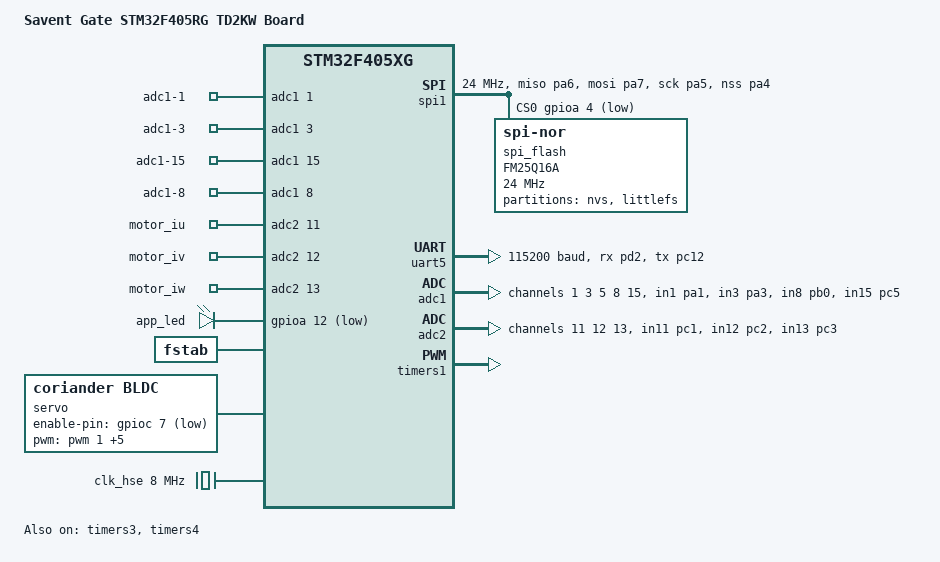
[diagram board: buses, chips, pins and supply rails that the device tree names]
/*
 * Copyright (c) 2023 Savent Gate
 *
 * SPDX-License-Identifier: All rights reserved
 */
/dts-v1/;
#include <st/f4/stm32f405Xg.dtsi>
#include <st/f4/stm32f405rgtx-pinctrl.dtsi>

/ {

    model = "Savent Gate STM32F405RG TD2KW Board";
    compatible = "st,stm32f405Xg";

	zephyr,user {
		io-channels =  <&adc1 1>, <&adc1 3>, <&adc1 15>, <&adc1 8>,
		/* For phase current */ <&adc2 11>, <&adc2 12>, <&adc2 13>;
		io-channel-names = "adc1-1", "adc1-3", "adc1-15", "adc1-8",
		    "motor_iu", "motor_iv", "motor_iw";
	};
	
    chosen {
		zephyr,sram = &sram0;
		zephyr,flash = &flash0;
		zephyr,code-partition = &slot0_partition;
		usr,led = &leds;
		usr,dbg = &uart5;
		usr,encoder = &qdec;
    };


	leds: leds{
		compatible = "gpio-leds";
		app_led: app_led {
			gpios = <&gpioa 12 GPIO_ACTIVE_LOW>;
			status = "okay";
		};
	};

	fstab {
		compatible = "zephyr,fstab";
		lfs: lfs {
			compatible = "zephyr,fstab,littlefs";
			read-size = <16>;
			prog-size = <16>;
			cache-size = <1024>;
			lookahead-size = <32>;
			block-cycles = <512>;
			partition = <&fs_partition>;
			// no-format = true;
			mount-point = "/fs";
			automount;
		};
	};

	servo: servo {
		compatible = "coriander,bldc";
		pwms = <&pwm 1 PWM_USEC(500) PWM_POLARITY_NORMAL>,
			<&pwm 2 PWM_USEC(500) PWM_POLARITY_NORMAL>,
			<&pwm 3 PWM_USEC(500) PWM_POLARITY_NORMAL>,
			<&pwm 1 PWM_USEC(500) (PWM_POLARITY_NORMAL | STM32_PWM_COMPLEMENTARY)>,
			<&pwm 2 PWM_USEC(500) (PWM_POLARITY_NORMAL | STM32_PWM_COMPLEMENTARY)>,
			<&pwm 3 PWM_USEC(500) (PWM_POLARITY_NORMAL | STM32_PWM_COMPLEMENTARY)>;
		pwm-names = "motor-u", "motor-v", "motor-w", "motor-un", "motor-vn", "motor-wn";
		enable-pin = <&gpioc 7 GPIO_ACTIVE_LOW>;
		max_pulse = <PWM_USEC(490)>;
		min_pulse = <PWM_USEC(10)>;
	};
};

// spi flash
&spi1 {
	status = "okay";
	pinctrl-names = "default";
	pinctrl-0 = <&spi1_miso_pa6 &spi1_mosi_pa7 &spi1_sck_pa5 &spi1_nss_pa4>;
	cs-gpios = <&gpioa 4 GPIO_ACTIVE_LOW>;
	clock-frequency = <24000000>;
	spi_flash: FM25Q16A@0 {
		compatible = "jedec,spi-nor";
		reg = <0>;

		// 16Mbits = 2MBytes
		size = <0x1000000>;
		spi-max-frequency = <24000000>;
		jedec-id = [a1 40 15];
		status = "okay";

		partitions {
			compatible = "fixed-partitions";
			#address-cells = <1>;
			#size-cells = <1>;

			nvs_partition: partition@0 {
				label = "nvs";
				reg = <0x00000000 DT_SIZE_K(16)>;
			};

			fs_partition: partition@100000 {
				label = "littlefs";
				reg = <0x100000 DT_SIZE_M(1)>;
			};
		};
	};
};

// debug console
&uart5 {
	status = "okay";
	pinctrl-names = "default";
	pinctrl-0 = <&uart5_rx_pd2 &uart5_tx_pc12>;
	current-speed = <115200>;
};

&adc1 {
	status = "okay";
	#address-cells = <1>;
	#size-cells = <0>;

	st,adc-prescaler = <8>;

	pinctrl-0 = <&adc1_in1_pa1 &adc1_in3_pa3 &adc1_in8_pb0 &adc1_in15_pc5>;
	pinctrl-names = "default";

	channel@1 {
		reg = <1>;
		zephyr,gain = "ADC_GAIN_1";
		zephyr,reference = "ADC_REF_INTERNAL";
		zephyr,acquisition-time = <ADC_ACQ_TIME(ADC_ACQ_TIME_TICKS, 144)>;
		zephyr,resolution = <12>;
	};

	channel@3 {
		reg = <3>;
		zephyr,gain = "ADC_GAIN_1";
		zephyr,reference = "ADC_REF_INTERNAL";
		zephyr,acquisition-time = <ADC_ACQ_TIME(ADC_ACQ_TIME_TICKS, 56)>;
		zephyr,resolution = <12>;
	};

	channel@5 {
		reg = <5>;
		zephyr,gain = "ADC_GAIN_1";
		zephyr,reference = "ADC_REF_INTERNAL";
		zephyr,acquisition-time = <ADC_ACQ_TIME(ADC_ACQ_TIME_TICKS, 56)>;
		zephyr,resolution = <12>;
	};

	channel@8 {
		reg = <8>;
		zephyr,gain = "ADC_GAIN_1";
		zephyr,reference = "ADC_REF_INTERNAL";
		zephyr,acquisition-time = <ADC_ACQ_TIME(ADC_ACQ_TIME_TICKS, 56)>;
		zephyr,resolution = <12>;
	};

	channel@15 {
		reg = <15>;
		zephyr,gain = "ADC_GAIN_1";
		zephyr,reference = "ADC_REF_INTERNAL";
		zephyr,acquisition-time = <ADC_ACQ_TIME(ADC_ACQ_TIME_TICKS, 56)>;
		zephyr,resolution = <12>;
	};
};

&adc2 {
	status = "okay";
	#address-cells = <1>;
	#size-cells = <0>;
	st,adc-prescaler = <4>;

	pinctrl-0 = <&adc2_in11_pc1 &adc2_in12_pc2 &adc2_in13_pc3>;
	pinctrl-names = "default";

	channel@11 {
		reg = <11>;
		zephyr,gain = "ADC_GAIN_1";
		zephyr,reference = "ADC_REF_INTERNAL";
		zephyr,acquisition-time = <ADC_ACQ_TIME(ADC_ACQ_TIME_TICKS, 56)>;
		zephyr,resolution = <8>;
	};
	channel@12 {
		reg = <12>;
		zephyr,gain = "ADC_GAIN_1";
		zephyr,reference = "ADC_REF_INTERNAL";
		zephyr,acquisition-time = <ADC_ACQ_TIME(ADC_ACQ_TIME_TICKS, 56)>;
		zephyr,resolution = <8>;
	};
	channel@13 {
		reg = <13>;
		zephyr,gain = "ADC_GAIN_1";
		zephyr,reference = "ADC_REF_INTERNAL";
		zephyr,acquisition-time = <ADC_ACQ_TIME(ADC_ACQ_TIME_TICKS, 56)>;
		zephyr,resolution = <8>;
	};
};

&timers1 {
	status = "okay";

	pwm: pwm {
		status = "okay";
		pinctrl-0 = <&tim1_ch1_pa8 &tim1_ch2_pa9 &tim1_ch3_pa10>;
		pinctrl-names = "default";
	};
};

&timers3 {
	status = "okay";

	encoder_pwm: capture {
		stauts = "okay";
		pinctrl-0 = <&tim3_ch2_pb5>;
		pinctrl-names = "default";
	};
};

&timers4 {
	status = "okay";

	qdec: qdec {
		status = "okay";
		pinctrl-0 = <&tim4_ch1_pb6 &tim4_ch2_pb7>;
		pinctrl-names = "default";
		st,input-filter-level = <3>;
		st,counts-per-revolution = <0x8000>;
	};
};

&clk_lsi {
    status = "okay";
};

&clk_hse {
    hse-bypass;
    clock-frequency = <DT_FREQ_M(8)>;
    status = "okay";
};

&pll {
	div-m = <8>;
	mul-n = <336>;
	div-p = <4>;
	div-q = <7>;
	clocks = <&clk_hse>;
	status = "okay";
};

&rcc {
	clocks = <&pll>;
	clock-frequency = <DT_FREQ_M(84)>;
	ahb-prescaler = <1>;
	apb1-prescaler = <2>;
	apb2-prescaler = <1>;
};

&flash0 {

	partitions {
		compatible = "fixed-partitions";
		#address-cells = <1>;
		#size-cells = <1>;

		/**
		 * boot    0x0000'0000  64K
		 * p1      0x0001'0000 448K
		 * p2      0x0008'0000 448K
		 * scratch 0x000F'0000  64K
		 */

		boot_partition: partition@0 {
			label = "mcuboot";
			reg = <0x00000000 DT_SIZE_K(64)>;
			read-only;
		};
		slot0_partition: partition@10000 {
			label = "image-0";
			reg = <0x00010000 DT_SIZE_K(448)>;
		};
		slot1_partition: partition@80000 {
			label = "image-1";
			reg = <0x00080000 DT_SIZE_K(448)>;
		};
		scratch_partition: partition@f0000 {
			label = "image-scratch";
			reg = <0x000f0000 DT_SIZE_K(64)>;
		};
	};
};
